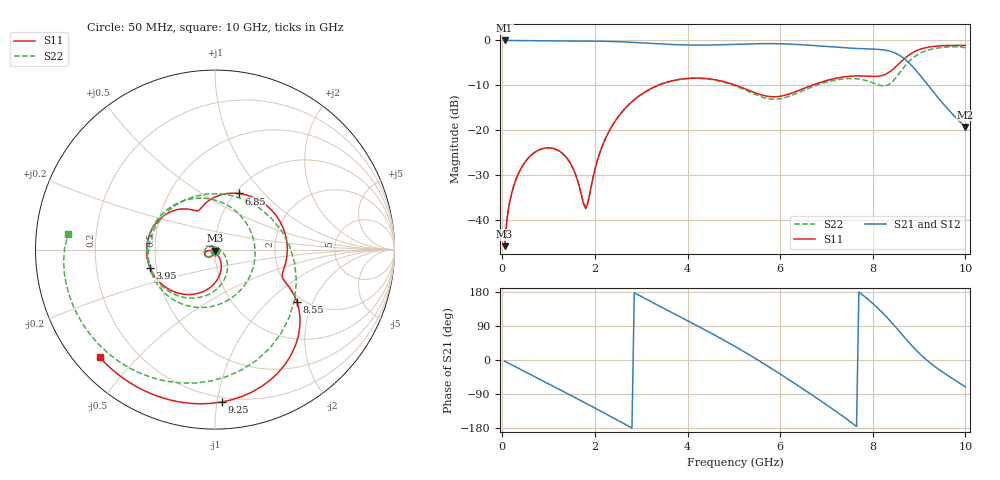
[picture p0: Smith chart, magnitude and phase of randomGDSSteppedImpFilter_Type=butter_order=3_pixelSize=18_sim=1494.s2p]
! freq	dB(S11)	phase(S11)	dB(S12)	phase(S12)
!  dB(S21)	phase(S21)	dB(S22)	phase(S22)
!S-par simulation data
#  GHz  S  DB  R 50
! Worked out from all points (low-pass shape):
!   200 points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, 50 MHz to 10 GHz, reference 50 ohm
!   highest |S21| = -0.01 dB at 50 MHz (marker M1); lowest = -19.3 dB at 10 GHz (marker M2)
!   |S21| within 3 dB of the highest: start of sweep to 8.524 GHz
!   lowest |S11| = -45.8 dB at 50 MHz (marker M3), VSWR 1.01, Z = 50 - j0.515 ohm
!   |S11| at or under -10 dB: start of sweep to 3.361 GHz; 5.048 GHz to 6.68 GHz (1.633 GHz wide, 27.8 % of centre)
!   |S22| runs from -45.8 to -1.4 dB; largest |S21 - S12| = 0
!   S11 on the Smith chart (normalised r, x): 50 MHz: 1.00, -0.01; 3.95 GHz: 0.46, -0.11; 6.85 GHz: 1.04, +0.73; 8.55 GHz: 1.86, -1.53; 9.25 GHz: 0.17, -1.03; 10 GHz: 0.07, -0.39
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0.05  -45.77 -91.4  -0.01 -3.2  -0.01 -3.2  -45.77 -91.7
0.25  -32.25 -104.8  -0.03 -15.8  -0.03 -15.8  -32.26 -106.3
0.75  -24.59 -135.3  -0.08 -47.2  -0.08 -47.2  -24.60 -140.7
1.35  -25.63 -166.9  -0.11 -85.1  -0.11 -85.1  -25.65 174.8
1.75  -36.22 -145.2  -0.13 -110.6  -0.13 -110.6  -36.02 100.6
2.6  -15.74 -84.4  -0.32 -166.2  -0.32 -166.2  -15.74 -69.1
3.4  -9.84 -132.1  -0.77 141.8  -0.77 141.8  -9.85 -124.9
3.95  -8.50 -164.4  -1.00 106.8  -1.00 106.8  -8.53 -161.9
4.5  -8.59 164.5  -1.02 71.4  -1.02 71.4  -8.67 159.1
5.05  -10.01 136.5  -0.86 34.1  -0.86 34.1  -10.20 113.1
5.8  -12.51 114.4  -0.71 -21.4  -0.71 -21.4  -13.05 23.3
6.3  -11.52 100.9  -0.87 -60.8  -0.87 -60.8  -12.01 -43.7
6.7  -9.92 78.0  -1.12 -93.2  -1.12 -93.2  -10.30 -85.5
6.85  -9.39 67.2  -1.24 -105.5  -1.24 -105.5  -9.75 -99.1
7.7  -7.89 1.0  -1.81 179.8  -1.81 179.8  -8.60 -177.8
8.05  -8.00 -18.1  -1.95 143.6  -1.95 143.6  -9.62 131.2
8.35  -7.09 -25.4  -2.34 106.7  -2.34 106.7  -9.79 58.1
8.55  -5.33 -32.5  -3.15 78.9  -3.15 78.9  -7.62 2.8
8.95  -2.26 -62.8  -6.87 24.2  -6.87 24.2  -3.27 -77.3
9.25  -1.41 -87.4  -10.70 -8.8  -10.70 -8.8  -1.99 -116.3
9.65  -1.12 -115.5  -15.60 -43.3  -15.60 -43.3  -1.43 -154.1
10  -1.12 -136.9  -19.27 -71.0  -19.27 -71.0  -1.69 174.0
